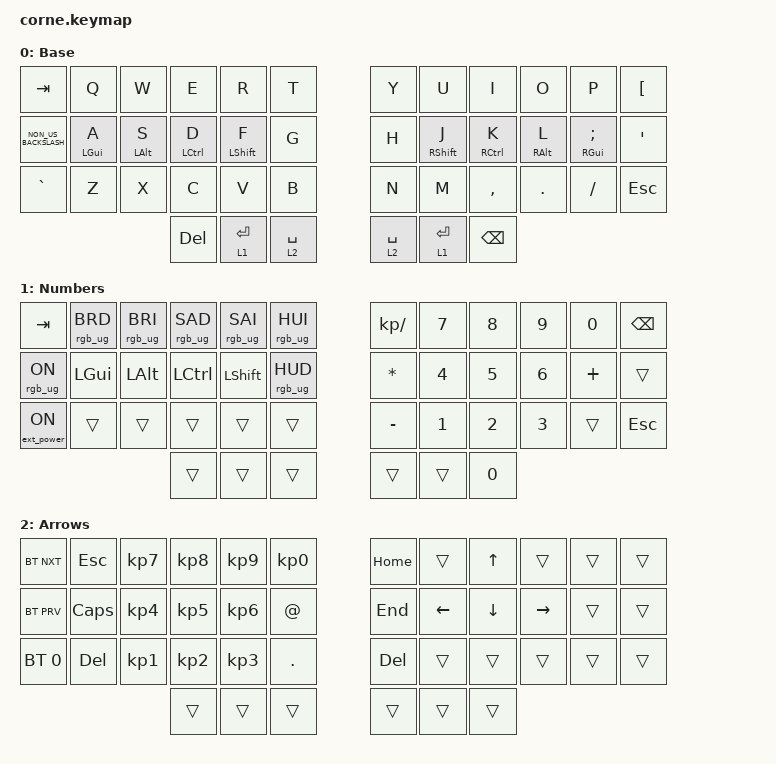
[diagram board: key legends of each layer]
/*
 * Copyright (c) 2020 The ZMK Contributors
 *
 * SPDX-License-Identifier: MIT
 */

#include <behaviors.dtsi>
#include <dt-bindings/zmk/bt.h>
#include <dt-bindings/zmk/keys.h>
#include <dt-bindings/zmk/rgb.h>
#include <dt-bindings/zmk/ext_power.h>

/ {
    behaviors {
        hm: homerow_mods {
            compatible = "zmk,behavior-hold-tap";
            label = "HOMEROW_MODS";
            #binding-cells = <2>;
            tapping-term-ms = <200>;
            quick_tap_ms = <0>;
            flavor = "tap-preferred";
            bindings = <&kp>, <&kp>;

            quick-tap-ms = <180>;
            global-quick-tap;
        };
    };

    combos { compatible = "zmk,combos"; };

    keymap {
        compatible = "zmk,keymap";

        default_layer {
            display-name = "Base";
            bindings = <
&kp TAB               &kp Q           &kp W           &kp E        &kp R             &kp T          &kp Y        &kp U         &kp I          &kp O            &kp P               &kp LEFT_BRACKET
&kp NON_US_BACKSLASH  &hm LEFT_GUI A  &hm LEFT_ALT S  &hm LCTRL D  &hm LEFT_SHIFT F  &kp G          &kp H        &hm RSHIFT J  &hm RCTRL K    &hm RIGHT_ALT L  &hm RGUI SEMICOLON  &kp SQT
&kp GRAVE             &kp Z           &kp X           &kp C        &kp V             &kp B          &kp N        &kp M         &kp COMMA      &kp DOT          &kp FSLH            &kp ESC
                                                      &kp DELETE   &lt 1 ENTER       &lt 2 SPACE    &lt 2 SPACE  &lt 1 ENTER   &kp BACKSPACE
            >;
        };

        lower_layer {
            display-name = "Numbers";
            bindings = <
&kp TAB           &rgb_ug RGB_BRD  &rgb_ug RGB_BRI  &rgb_ug RGB_SAD  &rgb_ug RGB_SAI  &rgb_ug RGB_HUI    &kp KP_DIVIDE  &kp N7  &kp N8  &kp N9  &kp N0    &kp BSPC
&rgb_ug RGB_ON    &kp LEFT_GUI     &kp LEFT_ALT     &kp LCTRL        &kp LEFT_SHIFT   &rgb_ug RGB_HUD    &kp STAR       &kp N4  &kp N5  &kp N6  &kp PLUS  &trans
&ext_power EP_ON  &trans           &trans           &trans           &trans           &trans             &kp MINUS      &kp N1  &kp N2  &kp N3  &trans    &kp ESCAPE
                                                    &trans           &trans           &trans             &trans         &trans  &kp N0
            >;
        };

        raise_layer {
            display-name = "Arrows";
            bindings = <
&bt BT_NXT    &kp ESC     &kp KP_NUMBER_7  &kp KP_NUMBER_8  &kp KP_NUMBER_9  &kp KP_NUMBER_0    &kp HOME    &trans    &kp UP    &trans     &trans  &trans
&bt BT_PRV    &kp CAPS    &kp KP_NUMBER_4  &kp KP_NUMBER_5  &kp KP_NUMBER_6  &kp AT             &kp END     &kp LEFT  &kp DOWN  &kp RIGHT  &trans  &trans
&bt BT_SEL 0  &kp DELETE  &kp KP_NUMBER_1  &kp KP_NUMBER_2  &kp KP_NUMBER_3  &kp DOT            &kp DELETE  &trans    &trans    &trans     &trans  &trans
                                     &trans           &trans           &trans             &trans      &trans    &trans
            >;
        };
    };
};
